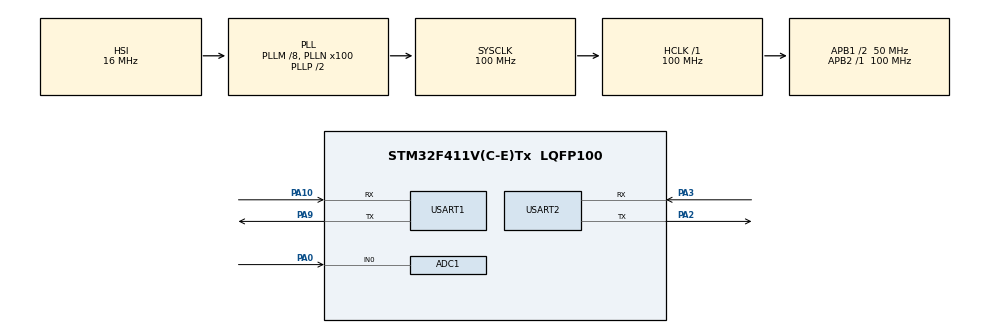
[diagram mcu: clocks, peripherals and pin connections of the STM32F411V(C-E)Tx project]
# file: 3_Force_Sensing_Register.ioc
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Mcu.Family=STM32F4
Dma.ADC1.0.Instance=DMA2_Stream0
RCC.CortexFreq_Value=100000000
ADC1.Rank-0\#ChannelRegularConversion=1
PA10.Mode=Asynchronous
ADC1.ContinuousConvMode=ENABLE
PH1\ -\ OSC_OUT.Mode=HSE-External-Oscillator
RCC.APB1CLKDivider=RCC_HCLK_DIV2
RCC.SYSCLKSource=RCC_SYSCLKSOURCE_PLLCLK
ProjectManager.StackSize=0x400
PA0-WKUP.Signal=ADCx_IN0
PA13.Signal=SYS_JTMS-SWDIO
PA3.Mode=Asynchronous
NVIC.ADC_IRQn=true\:0\:0\:false\:false\:true\:true\:true
Dma.ADC1.0.PeriphDataAlignment=DMA_PDATAALIGN_HALFWORD
PA9.Mode=Asynchronous
PH0\ -\ OSC_IN.Mode=HSE-External-Oscillator
PH0\ -\ OSC_IN.Signal=RCC_OSC_IN
ProjectManager.TargetToolchain=STM32CubeIDE
Dma.ADC1.0.Mode=DMA_CIRCULAR
RCC.HCLKFreq_Value=100000000
Dma.ADC1.0.Priority=DMA_PRIORITY_LOW
RCC.APB2TimFreq_Value=100000000
PA9.Signal=USART1_TX
Dma.ADC1.0.Direction=DMA_PERIPH_TO_MEMORY
NVIC.DMA2_Stream0_IRQn=true\:0\:0\:false\:false\:true\:false\:true
RCC.LSE_VALUE=32768
Dma.ADC1.0.MemDataAlignment=DMA_MDATAALIGN_HALFWORD
RCC.AHBFreq_Value=100000000
ADC1.Channel-0\#ChannelRegularConversion=ADC_CHANNEL_0
RCC.HSE_VALUE=25000000
PH1\ -\ OSC_OUT.Signal=RCC_OSC_OUT
ADC1.ScanConvMode=ENABLE
board=custom
RCC.VCOOutputFreq_Value=200000000
RCC.APB2Freq_Value=100000000
PA14.Mode=Serial_Wire
Dma.ADC1.0.PeriphInc=DMA_PINC_DISABLE
SH.ADCx_IN0.0=ADC1_IN0,IN0
ADC1.DMAContinuousRequests=ENABLE
PA13.Mode=Serial_Wire
Mcu.Name=STM32F411V(C-E)Tx
ADC1.SamplingTime-0\#ChannelRegularConversion=ADC_SAMPLETIME_144CYCLES
PA2.Signal=USART2_TX
RCC.48MHZClocksFreq_Value=50000000
RCC.SYSCLKFreq_VALUE=100000000
Mcu.Package=LQFP100
ADC1.master=1
USART2.VirtualMode=VM_ASYNC
USART1.VirtualMode=VM_ASYNC
PA10.Signal=USART1_RX
PA14.Signal=SYS_JTCK-SWCLK
Dma.ADC1.0.MemInc=DMA_MINC_ENABLE
ProjectManager.HeapSize=0x200
RCC.HSI_VALUE=16000000
NVIC.PriorityGroup=NVIC_PRIORITYGROUP_4
ADC1.NbrOfConversionFlag=1
RCC.PLLM=8
RCC.PLLN=100
RCC.APB1TimFreq_Value=100000000
PA2.Mode=Asynchronous
Dma.ADC1.0.FIFOMode=DMA_FIFOMODE_DISABLE
RCC.APB1Freq_Value=50000000
Dma.Request0=ADC1
PA3.Signal=USART2_RX

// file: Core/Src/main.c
/* USER CODE BEGIN Header */
/**
  ******************************************************************************
  * @file           : main.c
  * @brief          : Main program body
  ******************************************************************************
  * @attention
  *
  * <h2><center>&copy; Copyright (c) 2021 STMicroelectronics.
  * All rights reserved.</center></h2>
  *
  * This software component is licensed by ST under BSD 3-Clause license,
  * the "License"; You may not use this file except in compliance with the
  * License. You may obtain a copy of the License at:
  *                        opensource.org/licenses/BSD-3-Clause
  *
  ******************************************************************************
  */

/* Author: danghoanelec@gmail.com
 * Be careful to the  analog input signal. STM32F4 lines have been supporting 0->3V
  But it's not exact with my STM32F411 discovery board it's 2.95V
  So replace VREF_ADC_PERIPHERAL value compatible with your own
 * */

/* USER CODE END Header */
#include "main.h"

/* USER CODE BEGIN Includes */
#include "Uart.h"
/* USER CODE END Includes */

/* USER CODE BEGIN PD */
#define VREF_ADC_PERIPHERAL  2.95f
#define Rref  10000
#define infinite 1000000//assume value
/* USER CODE END PD */

ADC_HandleTypeDef hadc1;
DMA_HandleTypeDef hdma_adc1;

UART_HandleTypeDef huart1;
UART_HandleTypeDef huart2;

/* USER CODE BEGIN PV */

uint16_t FSR_adc_value[1];

/* USER CODE END PV */

void SystemClock_Config(void);
static void MX_GPIO_Init(void);
static void MX_DMA_Init(void);
static void MX_ADC1_Init(void);
static void MX_USART1_UART_Init(void);
static void MX_USART2_UART_Init(void);

/* USER CODE BEGIN 0 */
float voltageAccrossR(uint16_t _adc) {
	return _adc * VREF_ADC_PERIPHERAL / 4095;
}
float ResistanceFSR(uint16_t _adc) {
	/*
	 * Vref = (Rref*VREF_ADC_PERIPHERAL)/( Rref+Rhsr)
	 *
	 * */
	if (_adc)
		return (VREF_ADC_PERIPHERAL * Rref) / voltageAccrossR(_adc) - Rref;
	else
		return infinite;
}
const char* force(float _fsrResistance)
{
	if(_fsrResistance>=30000)
		return "No pressure\n";
	else if(_fsrResistance>=6000)
		return "Light touch\n";
	else if(_fsrResistance>=1000)
		return "Light squeeze\n";
	else
		return "Big squeeze\n";
}
/* USER CODE END 0 */

int main(void)
{

  /* MCU Configuration--------------------------------------------------------*/

  /* Reset of all peripherals, Initializes the Flash interface and the Systick. */
  HAL_Init();

  /* Configure the system clock */
  SystemClock_Config();

  /* Initialize all configured peripherals */
  MX_GPIO_Init();
  MX_DMA_Init();
  MX_ADC1_Init();
  MX_USART1_UART_Init();
  MX_USART2_UART_Init();
  /* USER CODE BEGIN 2 */
	HAL_ADC_Start_DMA(&hadc1, (uint32_t*) FSR_adc_value, 1);

  /* USER CODE END 2 */

  /* Infinite loop */
  while (1)
  {

    /* USER CODE BEGIN 3 */
	  SendConstChar("Ref ADC: ", huart2);
	  	  	uint16_t FSR_val = FSR_adc_value[0];
	  		float Vol_R = voltageAccrossR( FSR_val);
	  		float Fsr_resistance = ResistanceFSR(FSR_val);

	  		SendUnsignedNumber((uint32_t) FSR_val, huart2);
	  		SendConstChar("\n", huart2);
	  		SendConstChar("Vref : ", huart2);
	  		SendFloat(Vol_R,huart2);
	  		SendConstChar("\n", huart2);
	  		SendConstChar("FSR Resistance value: ", huart2);
	  		if (Vol_R>0.1)
	  			SendFloat(Fsr_resistance,huart2);
	  		else
	  			SendConstChar(" Infinite value", huart2);
	  		SendConstChar("\n", huart2);
	  		SendConstChar( force(Fsr_resistance),huart2);
	  		HAL_Delay(1000);
	  	//	HAL_UART_Transmit(&huart1, "hi", 2, 200);
  }
  /* USER CODE END 3 */
}

void SystemClock_Config(void)
{
  RCC_OscInitTypeDef RCC_OscInitStruct = {0};
  RCC_ClkInitTypeDef RCC_ClkInitStruct = {0};

  /** Configure the main internal regulator output voltage
  */
  __HAL_RCC_PWR_CLK_ENABLE();
  __HAL_PWR_VOLTAGESCALING_CONFIG(PWR_REGULATOR_VOLTAGE_SCALE1);
  /** Initializes the RCC Oscillators according to the specified parameters
  * in the RCC_OscInitTypeDef structure.
  */
  RCC_OscInitStruct.OscillatorType = RCC_OSCILLATORTYPE_HSI;
  RCC_OscInitStruct.HSIState = RCC_HSI_ON;
  RCC_OscInitStruct.HSICalibrationValue = RCC_HSICALIBRATION_DEFAULT;
  RCC_OscInitStruct.PLL.PLLState = RCC_PLL_ON;
  RCC_OscInitStruct.PLL.PLLSource = RCC_PLLSOURCE_HSI;
  RCC_OscInitStruct.PLL.PLLM = 8;
  RCC_OscInitStruct.PLL.PLLN = 100;
  RCC_OscInitStruct.PLL.PLLP = RCC_PLLP_DIV2;
  RCC_OscInitStruct.PLL.PLLQ = 4;
  if (HAL_RCC_OscConfig(&RCC_OscInitStruct) != HAL_OK)
  {
    Error_Handler();
  }
  /** Initializes the CPU, AHB and APB buses clocks
  */
  RCC_ClkInitStruct.ClockType = RCC_CLOCKTYPE_HCLK|RCC_CLOCKTYPE_SYSCLK
                              |RCC_CLOCKTYPE_PCLK1|RCC_CLOCKTYPE_PCLK2;
  RCC_ClkInitStruct.SYSCLKSource = RCC_SYSCLKSOURCE_PLLCLK;
  RCC_ClkInitStruct.AHBCLKDivider = RCC_SYSCLK_DIV1;
  RCC_ClkInitStruct.APB1CLKDivider = RCC_HCLK_DIV2;
  RCC_ClkInitStruct.APB2CLKDivider = RCC_HCLK_DIV1;

  if (HAL_RCC_ClockConfig(&RCC_ClkInitStruct, FLASH_LATENCY_3) != HAL_OK)
  {
    Error_Handler();
  }
}

static void MX_ADC1_Init(void)
{

  ADC_ChannelConfTypeDef sConfig = {0};

  /** Configure the global features of the ADC (Clock, Resolution, Data Alignment and number of conversion)
  */
  hadc1.Instance = ADC1;
  hadc1.Init.ClockPrescaler = ADC_CLOCK_SYNC_PCLK_DIV4;
  hadc1.Init.Resolution = ADC_RESOLUTION_12B;
  hadc1.Init.ScanConvMode = ENABLE;
  hadc1.Init.ContinuousConvMode = ENABLE;
  hadc1.Init.DiscontinuousConvMode = DISABLE;
  hadc1.Init.ExternalTrigConvEdge = ADC_EXTERNALTRIGCONVEDGE_NONE;
  hadc1.Init.ExternalTrigConv = ADC_SOFTWARE_START;
  hadc1.Init.DataAlign = ADC_DATAALIGN_RIGHT;
  hadc1.Init.NbrOfConversion = 1;
  hadc1.Init.DMAContinuousRequests = ENABLE;
  hadc1.Init.EOCSelection = ADC_EOC_SINGLE_CONV;
  if (HAL_ADC_Init(&hadc1) != HAL_OK)
  {
    Error_Handler();
  }
  /** Configure for the selected ADC regular channel its corresponding rank in the sequencer and its sample time.
  */
  sConfig.Channel = ADC_CHANNEL_0;
  sConfig.Rank = 1;
  sConfig.SamplingTime = ADC_SAMPLETIME_144CYCLES;
  if (HAL_ADC_ConfigChannel(&hadc1, &sConfig) != HAL_OK)
  {
    Error_Handler();
  }

}

static void MX_USART1_UART_Init(void)
{

  huart1.Instance = USART1;
  huart1.Init.BaudRate = 115200;
  huart1.Init.WordLength = UART_WORDLENGTH_8B;
  huart1.Init.StopBits = UART_STOPBITS_1;
  huart1.Init.Parity = UART_PARITY_NONE;
  huart1.Init.Mode = UART_MODE_TX_RX;
  huart1.Init.HwFlowCtl = UART_HWCONTROL_NONE;
  huart1.Init.OverSampling = UART_OVERSAMPLING_16;
  if (HAL_UART_Init(&huart1) != HAL_OK)
  {
    Error_Handler();
  }

}

static void MX_USART2_UART_Init(void)
{

  huart2.Instance = USART2;
  huart2.Init.BaudRate = 115200;
  huart2.Init.WordLength = UART_WORDLENGTH_8B;
  huart2.Init.StopBits = UART_STOPBITS_1;
  huart2.Init.Parity = UART_PARITY_NONE;
  huart2.Init.Mode = UART_MODE_TX_RX;
  huart2.Init.HwFlowCtl = UART_HWCONTROL_NONE;
  huart2.Init.OverSampling = UART_OVERSAMPLING_16;
  if (HAL_UART_Init(&huart2) != HAL_OK)
  {
    Error_Handler();
  }

}

static void MX_DMA_Init(void)
{

  /* DMA controller clock enable */
  __HAL_RCC_DMA2_CLK_ENABLE();

  /* DMA interrupt init */
  /* DMA2_Stream0_IRQn interrupt configuration */
  HAL_NVIC_SetPriority(DMA2_Stream0_IRQn, 0, 0);
  HAL_NVIC_EnableIRQ(DMA2_Stream0_IRQn);

}

static void MX_GPIO_Init(void)
{

  /* GPIO Ports Clock Enable */
  __HAL_RCC_GPIOH_CLK_ENABLE();
  __HAL_RCC_GPIOA_CLK_ENABLE();

}

void Error_Handler(void)
{
  __disable_irq();
  while (1)
  {
  }
}

/************************ (C) COPYRIGHT STMicroelectronics *****END OF FILE****/
